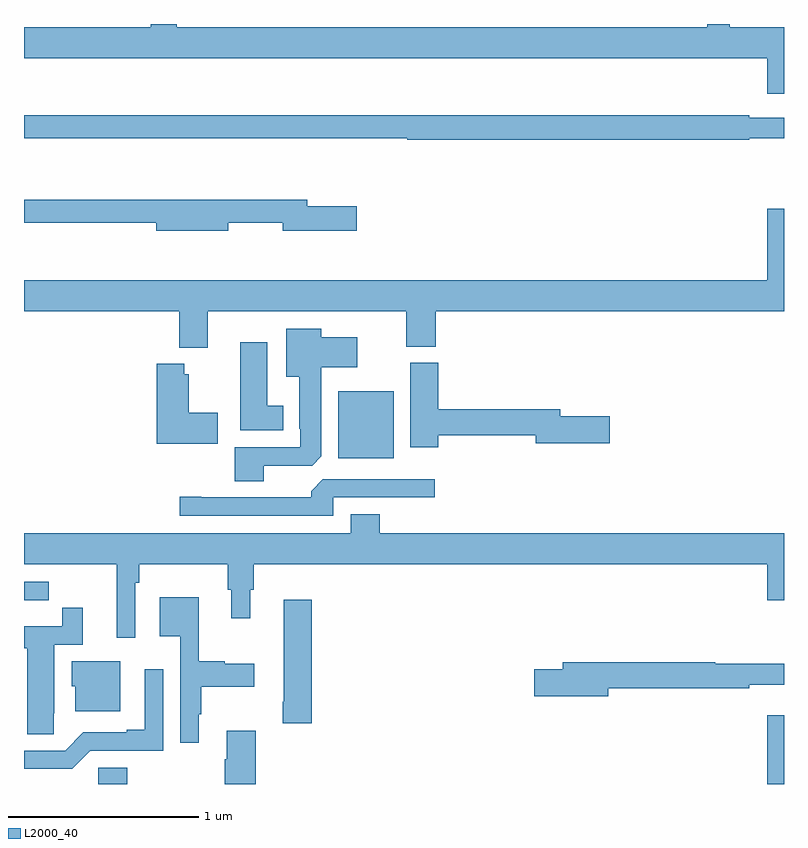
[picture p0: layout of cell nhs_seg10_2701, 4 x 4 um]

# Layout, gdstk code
import gdstk
lib = gdstk.Library(unit=1e-6, precision=1e-09)
def R(c, l, rs):  # rectangles x0, y0, x1, y1
    for r in rs: c.add(gdstk.rectangle(r[:2], r[2:], *l))
def P(c, l, *ps):  # polygons
    for p in ps: c.add(gdstk.Polygon(p, *l))
L2000_40 = (2000, 40)

nhs_seg10_2701 = lib.new_cell('nhs_seg10_2701')
R(nhs_seg10_2701, L2000_40, [(257.391,1292.5,257.543,1292.586), (260.912,1292.5,261,1292.863), (258.653,1294.214,258.946,1294.567)])
P(nhs_seg10_2701, L2000_40, [(261,1296.484),(260.714,1296.484),(260.714,1296.5),(260.597,1296.5),(260.597,1296.484),(257.805,1296.484),(257.805,1296.5),(257.667,1296.5),(257.667,1296.484),(257,1296.484),(257,1296.32),(260.912,1296.32),(260.912,1296.132),(261,1296.132)],
  [(260.818,1295.898),(261,1295.898),(261,1296.006),(260.816,1296.006),(260.816,1296.019),(257,1296.019),(257,1295.898),(259.018,1295.898),(259.018,1295.89),(260.818,1295.89)],
  [(258.076,1295.454),(258.362,1295.454),(258.362,1295.411),(258.751,1295.411),(258.751,1295.541),(258.49,1295.541),(258.49,1295.575),(257,1295.575),(257,1295.454),(257.696,1295.454),(257.696,1295.411),(258.076,1295.411)],
  [(257.968,1294.988),(259.013,1294.988),(259.013,1294.801),(259.166,1294.801),(259.166,1294.988),(261,1294.988),(261,1295.527),(260.912,1295.527),(260.912,1295.152),(257,1295.152),(257,1294.988),(257.816,1294.988),(257.816,1294.796),(257.968,1294.796)],
  [(258.262,1294.176),(258.516,1294.176),(258.565,1294.225),(258.565,1294.694),(258.754,1294.694),(258.754,1294.852),(258.565,1294.852),(258.565,1294.897),(258.38,1294.897),(258.38,1294.643),(258.449,1294.643),(258.449,1294.369),(258.453,1294.369),(258.453,1294.272),(258.11,1294.272),(258.11,1294.093),(258.262,1294.093)],
  [(258.364,1294.492),(258.28,1294.492),(258.28,1294.825),(258.137,1294.825),(258.137,1294.361),(258.364,1294.361)],
  [(259.181,1294.336),(259.694,1294.336),(259.694,1294.294),(260.083,1294.294),(260.083,1294.436),(259.822,1294.436),(259.822,1294.472),(259.181,1294.472),(259.181,1294.716),(259.034,1294.716),(259.034,1294.272),(259.181,1294.272)],
  [(258.019,1294.455),(257.866,1294.455),(257.866,1294.657),(257.844,1294.657),(257.844,1294.711),(257.699,1294.711),(257.699,1294.292),(258.019,1294.292)],
  [(258.627,1294.008),(259.162,1294.008),(259.162,1294.104),(258.573,1294.104),(258.512,1294.042),(258.512,1294.008),(257.932,1294.008),(257.932,1294.013),(257.82,1294.013),(257.82,1293.912),(258.627,1293.912)],
  [(257.586,1293.56),(257.606,1293.56),(257.606,1293.656),(258.073,1293.656),(258.073,1293.522),(258.092,1293.522),(258.092,1293.372),(258.19,1293.372),(258.19,1293.522),(258.209,1293.522),(258.209,1293.656),(260.912,1293.656),(260.912,1293.468),(261,1293.468),(261,1293.82),(258.872,1293.82),(258.872,1293.919),(258.719,1293.919),(258.719,1293.82),(257,1293.82),(257,1293.656),(257.489,1293.656),(257.489,1293.27),(257.586,1293.27)],
  [(257.018,1293.468),(257.131,1293.468),(257.131,1293.564),(257,1293.564),(257,1293.467),(257.018,1293.467)],
  [(257.92,1292.866),(257.932,1292.866),(257.932,1293.011),(258.211,1293.011),(258.211,1293.133),(258.057,1293.133),(258.057,1293.146),(257.92,1293.146),(257.92,1293.484),(257.714,1293.484),(257.714,1293.278),(257.823,1293.278),(257.823,1292.718),(257.92,1292.718)],
  [(258.515,1293.469),(258.368,1293.469),(258.368,1292.932),(258.361,1292.932),(258.361,1292.82),(258.515,1292.82)],
  [(257.157,1292.872),(257.158,1292.872),(257.158,1293.234),(257.309,1293.234),(257.309,1293.427),(257.2,1293.427),(257.2,1293.33),(257,1293.33),(257,1293.214),(257.018,1293.214),(257.018,1292.761),(257.157,1292.761)],
  [(257.506,1293.145),(257.252,1293.145),(257.252,1293.015),(257.27,1293.015),(257.27,1292.882),(257.506,1292.882)],
  [(260.074,1293.004),(260.816,1293.004),(260.816,1293.023),(261,1293.023),(261,1293.133),(260.639,1293.133),(260.639,1293.14),(259.835,1293.14),(259.835,1293.104),(259.686,1293.104),(259.686,1292.962),(260.074,1292.962)],
  [(257.349,1292.676),(257.733,1292.676),(257.733,1293.103),(257.636,1293.103),(257.636,1292.785),(257.54,1292.785),(257.54,1292.772),(257.313,1292.772),(257.217,1292.676),(257,1292.676),(257,1292.58),(257.253,1292.58)],
  [(258.221,1292.779),(258.068,1292.779),(258.068,1292.63),(258.056,1292.63),(258.056,1292.5),(258.221,1292.5)])

lib.write_gds('nhs_seg10_2701.gds')
